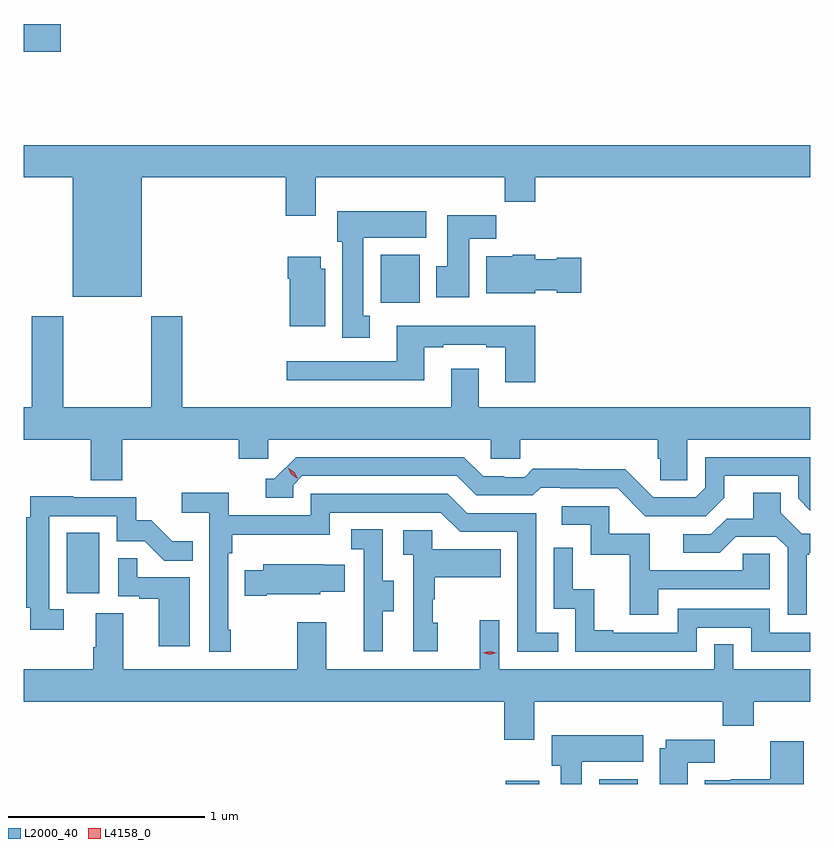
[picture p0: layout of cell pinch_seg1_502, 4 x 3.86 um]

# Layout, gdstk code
import gdstk
lib = gdstk.Library(unit=1e-6, precision=1e-09)
def R(c, l, rs):  # rectangles x0, y0, x1, y1
    for r in rs: c.add(gdstk.rectangle(r[:2], r[2:], *l))
def P(c, l, *ps):  # polygons
    for p in ps: c.add(gdstk.Polygon(p, *l))
L2000_40 = (2000, 40)
L4158_0 = (4158, 0)

pinch_seg1_502 = lib.new_cell('pinch_seg1_502')
R(pinch_seg1_502, L2000_40, [(1138.802,539.325,1138.972,539.341), (1139.276,539.325,1139.473,539.35), (1136.57,540.294,1136.734,540.601), (1138.166,541.772,1138.363,542.014), (1136.35,543.046,1136.539,543.188)])
P(pinch_seg1_502, L2000_40, [(1136.95,542.408),(1137.683,542.408),(1137.683,542.214),(1137.835,542.214),(1137.835,542.408),(1138.795,542.408),(1138.795,542.284),(1138.952,542.284),(1138.952,542.408),(1140.35,542.408),(1140.35,542.572),(1136.35,542.572),(1136.35,542.408),(1136.6,542.408),(1136.6,541.802),(1136.95,541.802)],
  [(1138.111,541.706),(1138.078,541.706),(1138.078,542.102),(1138.396,542.102),(1138.396,542.236),(1137.944,542.236),(1137.944,542.082),(1137.971,542.082),(1137.971,541.593),(1138.111,541.593)],
  [(1138.615,542.096),(1138.754,542.096),(1138.754,542.215),(1138.505,542.215),(1138.505,541.956),(1138.448,541.956),(1138.448,541.8),(1138.615,541.8)],
  [(1138.95,541.835),(1139.061,541.835),(1139.061,541.823),(1139.185,541.823),(1139.185,542.001),(1139.061,542.001),(1139.061,541.993),(1138.95,541.993),(1138.95,542.014),(1138.836,542.014),(1138.836,542.008),(1138.703,542.008),(1138.703,541.82),(1138.95,541.82)],
  [(1137.883,541.944),(1137.862,541.944),(1137.862,542.005),(1137.692,542.005),(1137.692,541.892),(1137.704,541.892),(1137.704,541.652),(1137.883,541.652)],
  [(1136.852,541.076),(1137.443,541.076),(1137.443,540.978),(1137.594,540.978),(1137.594,541.076),(1138.725,541.076),(1138.725,540.978),(1138.875,540.978),(1138.875,541.076),(1139.573,541.076),(1139.573,540.978),(1139.587,540.978),(1139.587,540.868),(1139.724,540.868),(1139.724,541.076),(1140.35,541.076),(1140.35,541.24),(1138.663,541.24),(1138.663,541.435),(1138.523,541.435),(1138.523,541.24),(1137.158,541.24),(1137.158,541.702),(1136.998,541.702),(1136.998,541.24),(1136.553,541.24),(1136.553,541.702),(1136.393,541.702),(1136.393,541.24),(1136.35,541.24),(1136.35,541.076),(1136.692,541.076),(1136.692,540.868),(1136.852,540.868)],
  [(1138.952,541.654),(1138.247,541.654),(1138.247,541.473),(1137.687,541.473),(1137.687,541.376),(1138.387,541.376),(1138.387,541.545),(1138.483,541.545),(1138.483,541.557),(1138.703,541.557),(1138.703,541.545),(1138.799,541.545),(1138.799,541.368),(1138.952,541.368)],
  [(1139.911,540.781),(1139.911,540.891),(1140.288,540.891),(1140.288,540.777),(1140.35,540.715),(1140.35,540.987),(1139.814,540.987),(1139.814,540.831),(1139.766,540.783),(1139.55,540.783),(1139.408,540.925),(1139.172,540.925),(1139.172,540.928),(1138.939,540.928),(1138.897,540.885),(1138.794,540.885),(1138.794,540.888),(1138.687,540.888),(1138.588,540.987),(1137.735,540.987),(1137.624,540.876),(1137.581,540.876),(1137.581,540.78),(1137.72,540.78),(1137.72,540.843),(1137.768,540.891),(1138.551,540.891),(1138.65,540.792),(1138.939,540.792),(1138.978,540.831),(1139.077,540.831),(1139.077,540.828),(1139.37,540.828),(1139.511,540.687),(1139.817,540.687)],
  [(1137.403,540.109),(1137.39,540.109),(1137.39,540.497),(1137.41,540.497),(1137.41,540.593),(1137.906,540.593),(1137.906,540.705),(1138.47,540.705),(1138.569,540.606),(1138.86,540.606),(1138.86,539.997),(1139.069,539.997),(1139.069,540.093),(1138.956,540.093),(1138.956,540.702),(1138.606,540.702),(1138.507,540.801),(1137.81,540.801),(1137.81,540.69),(1137.392,540.69),(1137.392,540.806),(1137.153,540.806),(1137.153,540.704),(1137.294,540.704),(1137.294,539.997),(1137.403,539.997)],
  [(1140.331,540.489),(1140.343,540.489),(1140.343,540.5),(1140.35,540.5),(1140.35,540.597),(1140.306,540.597),(1140.199,540.704),(1140.199,540.806),(1140.059,540.806),(1140.059,540.674),(1139.924,540.674),(1139.844,540.594),(1139.703,540.594),(1139.703,540.501),(1139.89,540.501),(1139.971,540.582),(1140.177,540.582),(1140.234,540.525),(1140.234,540.186),(1140.331,540.186)],
  [(1136.554,540.213),(1136.481,540.213),(1136.481,540.687),(1136.823,540.687),(1136.823,540.558),(1136.967,540.558),(1137.065,540.46),(1137.209,540.46),(1137.209,540.559),(1137.105,540.559),(1136.998,540.666),(1136.922,540.666),(1136.922,540.783),(1136.603,540.783),(1136.603,540.788),(1136.384,540.788),(1136.384,540.68),(1136.365,540.68),(1136.365,540.22),(1136.384,540.22),(1136.384,540.108),(1136.554,540.108)],
  [(1139.575,540.315),(1140.144,540.315),(1140.144,540.495),(1140.007,540.495),(1140.007,540.411),(1139.533,540.411),(1139.533,540.597),(1139.328,540.597),(1139.328,540.738),(1139.085,540.738),(1139.085,540.642),(1139.232,540.642),(1139.232,540.489),(1139.431,540.489),(1139.431,540.186),(1139.575,540.186)],
  [(1138.177,540.202),(1138.231,540.202),(1138.231,540.357),(1138.176,540.357),(1138.176,540.62),(1138.017,540.62),(1138.017,540.517),(1138.08,540.517),(1138.08,540.213),(1138.079,540.213),(1138.079,540),(1138.177,540)],
  [(1138.456,540.144),(1138.431,540.144),(1138.431,540.263),(1138.441,540.263),(1138.441,540.377),(1138.775,540.377),(1138.775,540.517),(1138.428,540.517),(1138.428,540.615),(1138.281,540.615),(1138.281,540.491),(1138.332,540.491),(1138.332,540),(1138.456,540)],
  [(1139.772,540.12),(1140.048,540.12),(1140.048,539.997),(1140.35,539.997),(1140.35,540.093),(1140.144,540.093),(1140.144,540.216),(1139.676,540.216),(1139.676,540.093),(1139.347,540.093),(1139.347,540.106),(1139.252,540.106),(1139.252,540.314),(1139.142,540.314),(1139.142,540.526),(1139.046,540.526),(1139.046,540.216),(1139.154,540.216),(1139.154,539.997),(1139.772,539.997)],
  [(1137.196,540.375),(1136.927,540.375),(1136.927,540.473),(1136.832,540.473),(1136.832,540.279),(1136.939,540.279),(1136.939,540.267),(1137.038,540.267),(1137.038,540.024),(1137.196,540.024)],
  [(1137.586,540.29),(1137.858,540.29),(1137.858,540.302),(1137.983,540.302),(1137.983,540.439),(1137.875,540.439),(1137.875,540.442),(1137.569,540.442),(1137.569,540.412),(1137.475,540.412),(1137.475,540.283),(1137.586,540.283)],
  [(1138.945,539.744),(1139.905,539.744),(1139.905,539.62),(1140.062,539.62),(1140.062,539.744),(1140.35,539.744),(1140.35,539.908),(1139.958,539.908),(1139.958,540.035),(1139.862,540.035),(1139.862,539.908),(1138.767,539.908),(1138.767,540.157),(1138.67,540.157),(1138.67,539.908),(1137.889,539.908),(1137.889,540.148),(1137.742,540.148),(1137.742,539.908),(1136.857,539.908),(1136.857,540.194),(1136.717,540.194),(1136.717,540.02),(1136.705,540.02),(1136.705,539.908),(1136.35,539.908),(1136.35,539.744),(1138.793,539.744),(1138.793,539.55),(1138.945,539.55)],
  [(1139.188,539.438),(1139.5,539.438),(1139.5,539.572),(1139.036,539.572),(1139.036,539.418),(1139.081,539.418),(1139.081,539.325),(1139.188,539.325)],
  [(1139.725,539.432),(1139.864,539.432),(1139.864,539.551),(1139.615,539.551),(1139.615,539.506),(1139.585,539.506),(1139.585,539.325),(1139.725,539.325)],
  [(1140.317,539.542),(1140.146,539.542),(1140.146,539.35),(1139.946,539.35),(1139.946,539.344),(1139.813,539.344),(1139.813,539.325),(1140.317,539.325)])
P(pinch_seg1_502, L4158_0, [(1137.743,540.876),(1137.713,540.896),(1137.696,540.929),(1137.696,540.929),(1137.697,540.929),(1137.727,540.909),(1137.744,540.876),(1137.744,540.876)],
  [(1138.72,539.981),(1138.685,539.991),(1138.684,539.991),(1138.685,539.991),(1138.72,540.001),(1138.755,539.991),(1138.756,539.991),(1138.755,539.991)])

lib.write_gds('pinch_seg1_502.gds')
